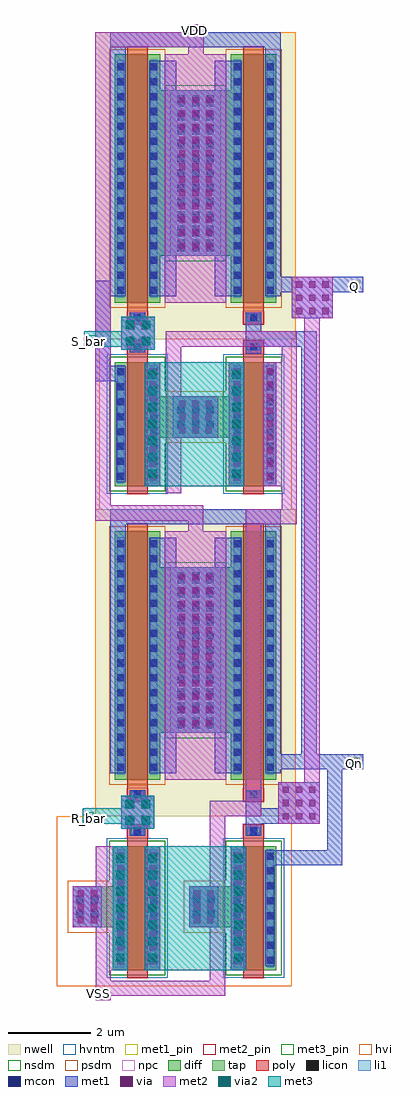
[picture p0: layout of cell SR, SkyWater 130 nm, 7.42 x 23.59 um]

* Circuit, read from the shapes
.subckt SR Q Qn R_bar S_bar VDD VSS
XM1 VSS R_bar VSS VSS sky130_fd_pr__nfet_g5v0d10v5 w=3 l=0.5
XM2 VSS S_bar Q VSS sky130_fd_pr__nfet_g5v0d10v5 w=3 l=0.5
XM3 Qn Q VSS VSS sky130_fd_pr__nfet_g5v0d10v5 w=3 l=0.5
XM4 VSS Qn VSS VSS sky130_fd_pr__nfet_g5v0d10v5 w=3 l=0.5
XM5 VDD R_bar Qn VDD sky130_fd_pr__pfet_g5v0d10v5 w=6 l=0.5
XM6 VDD S_bar Q VDD sky130_fd_pr__pfet_g5v0d10v5 w=6 l=0.5
XM7 Qn Q VDD VDD sky130_fd_pr__pfet_g5v0d10v5 w=6 l=0.5
XM8 Q Qn VDD VDD sky130_fd_pr__pfet_g5v0d10v5 w=6 l=0.5
.ends

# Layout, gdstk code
from math import pi, radians
import gdstk
lib = gdstk.Library(unit=1e-6, precision=1e-09)
def R(c, l, rs):  # rectangles x0, y0, x1, y1
    for r in rs: c.add(gdstk.rectangle(r[:2], r[2:], *l))
def A(c, l, x, y, w, h, nx, ny, dx, dy):  # array of equal rectangles
    R(c, l, [(x+i*dx, y+j*dy, x+i*dx+w, y+j*dy+h) for i in range(nx) for j in range(ny)])
nwell = (64, 20)
diff = (65, 20)
tap = (65, 44)
poly = (66, 20)
licon = (66, 44)
li1 = (67, 20)
mcon = (67, 44)
met1_pin = (68, 16)
met1 = (68, 20)
via = (68, 44)
met2_pin = (69, 16)
met2 = (69, 20)
via2 = (69, 44)
met3_pin = (70, 16)
met3 = (70, 20)
hvi = (75, 20)
nsdm = (93, 44)
psdm = (94, 20)
npc = (95, 20)
hvntm = (125, 20)

pfet_15 = lib.new_cell('pfet$15')
R(pfet_15, nwell, [(-0.465,-0.88,1.565,6.54)])
R(pfet_15, diff, [(0,0,1.1,6)])
R(pfet_15, poly, [(0.3,-0.53,0.8,-0.2), (0.3,-0.2,0.8,6.2)])
A(pfet_15, licon, 0.065, 0.215, 0.17, 0.17, 1, 16, 0, 0.36)
A(pfet_15, licon, 0.865, 0.215, 0.17, 0.17, 1, 16, 0, 0.36)
R(pfet_15, licon, [(0.465,-0.45,0.635,-0.28)])
R(pfet_15, li1, [(0.385,-0.45,0.715,-0.28), (0.065,0.135,0.235,5.865), (0.865,0.135,1.035,5.865)])
A(pfet_15, mcon, 0.065, 0.215, 0.17, 0.17, 1, 16, 0, 0.36)
A(pfet_15, mcon, 0.865, 0.215, 0.17, 0.17, 1, 16, 0, 0.36)
R(pfet_15, mcon, [(0.465,-0.45,0.635,-0.28)])
R(pfet_15, met1, [(0.365,-0.48,0.735,-0.25), (0.035,0.155,0.265,5.845), (0.835,0.155,1.065,5.845)])
R(pfet_15, hvi, [(-0.465,-0.88,1.565,6.54)])
R(pfet_15, psdm, [(-0.125,-0.125,1.225,6.125)])
R(pfet_15, npc, [(0.29,-0.54,0.81,-0.19)])

nfet_13 = lib.new_cell('nfet$13')
R(nfet_13, diff, [(0,0,1.1,3)])
R(nfet_13, poly, [(0.3,-0.2,0.8,3.2), (0.3,3.2,0.8,3.53)])
A(nfet_13, licon, 0.065, 0.155, 0.17, 0.17, 1, 8, 0, 0.36)
A(nfet_13, licon, 0.865, 0.155, 0.17, 0.17, 1, 8, 0, 0.36)
R(nfet_13, licon, [(0.465,3.28,0.635,3.45)])
R(nfet_13, li1, [(0.065,0.075,0.235,2.925), (0.865,0.075,1.035,2.925), (0.385,3.28,0.715,3.45)])
A(nfet_13, mcon, 0.065, 0.155, 0.17, 0.17, 1, 8, 0, 0.36)
A(nfet_13, mcon, 0.865, 0.155, 0.17, 0.17, 1, 8, 0, 0.36)
R(nfet_13, mcon, [(0.465,3.28,0.635,3.45)])
R(nfet_13, met1, [(0.035,0.095,0.265,2.905), (0.835,0.095,1.065,2.905), (0.365,3.25,0.735,3.48)])
R(nfet_13, hvi, [(-0.37,-0.385,1.47,3.725)])
R(nfet_13, nsdm, [(-0.125,-0.125,1.225,3.125)])
R(nfet_13, npc, [(0.29,3.19,0.81,3.54)])
R(nfet_13, hvntm, [(-0.185,-0.185,1.285,3.185)])

pfet_3 = lib.new_cell('pfet$3')
R(pfet_3, nwell, [(-0.465,-0.54,1.565,6.88)])
R(pfet_3, diff, [(0,0,1.1,6)])
R(pfet_3, poly, [(0.3,-0.2,0.8,6.2), (0.3,6.2,0.8,6.53)])
A(pfet_3, licon, 0.065, 0.215, 0.17, 0.17, 1, 16, 0, 0.36)
A(pfet_3, licon, 0.865, 0.215, 0.17, 0.17, 1, 16, 0, 0.36)
R(pfet_3, licon, [(0.465,6.28,0.635,6.45)])
R(pfet_3, li1, [(0.065,0.135,0.235,5.865), (0.865,0.135,1.035,5.865), (0.385,6.28,0.715,6.45)])
A(pfet_3, mcon, 0.065, 0.215, 0.17, 0.17, 1, 16, 0, 0.36)
A(pfet_3, mcon, 0.865, 0.215, 0.17, 0.17, 1, 16, 0, 0.36)
R(pfet_3, mcon, [(0.465,6.28,0.635,6.45)])
R(pfet_3, met1, [(0.035,0.155,0.265,5.845), (0.835,0.155,1.065,5.845), (0.365,6.25,0.735,6.48)])
R(pfet_3, hvi, [(-0.465,-0.54,1.565,6.88)])
R(pfet_3, psdm, [(-0.125,-0.125,1.225,6.125)])
R(pfet_3, npc, [(0.29,6.19,0.81,6.54)])

vias_gen_12_6 = lib.new_cell('vias_gen$12$6')
R(vias_gen_12_6, nwell, [(-0.18,-0.18,1.39,4.18)])
R(vias_gen_12_6, tap, [(0,0,1.21,4)])
A(vias_gen_12_6, licon, 0.18, 0.215, 0.17, 0.17, 3, 11, 0.34, 0.34)
R(vias_gen_12_6, li1, [(0,0,1.21,4)])
A(vias_gen_12_6, mcon, 0.16, 0.115, 0.17, 0.17, 3, 11, 0.36, 0.36)
R(vias_gen_12_6, met1, [(0,0,1.21,4)])
A(vias_gen_12_6, via, 0.21, 0.165, 0.15, 0.15, 3, 12, 0.32, 0.32)
R(vias_gen_12_6, met2, [(0,0,1.21,4)])
R(vias_gen_12_6, nsdm, [(-0.125,-0.125,1.335,4.125)])

vias_gen_14_3 = lib.new_cell('vias_gen$14$3')
R(vias_gen_14_3, tap, [(0,0,0.7,1)])
R(vias_gen_14_3, licon, [(0.095,0.245,0.265,0.415), (0.435,0.245,0.605,0.415), (0.095,0.585,0.265,0.755), (0.435,0.585,0.605,0.755)])
R(vias_gen_14_3, li1, [(0,0,0.7,1)])
R(vias_gen_14_3, mcon, [(0.085,0.235,0.255,0.405), (0.445,0.235,0.615,0.405), (0.085,0.595,0.255,0.765), (0.445,0.595,0.615,0.765)])
R(vias_gen_14_3, met1, [(0,0,0.7,1)])
A(vias_gen_14_3, via, 0.115, 0.105, 0.15, 0.15, 1, 3, 0, 0.32)
A(vias_gen_14_3, via, 0.435, 0.105, 0.15, 0.15, 1, 3, 0, 0.32)
R(vias_gen_14_3, met2, [(0,0,0.7,1)])
R(vias_gen_14_3, psdm, [(-0.125,-0.125,0.825,1.125)])

vias_gen_6_3 = lib.new_cell('vias_gen$6$3')
R(vias_gen_6_3, met1, [(0,0,0.8,0.8)])
R(vias_gen_6_3, via, [(0.165,0.165,0.315,0.315), (0.485,0.165,0.635,0.315), (0.165,0.485,0.315,0.635), (0.485,0.485,0.635,0.635)])
R(vias_gen_6_3, met2, [(0,0,0.8,0.8)])
R(vias_gen_6_3, via2, [(0.1,0.1,0.3,0.3), (0.5,0.1,0.7,0.3), (0.1,0.5,0.3,0.7), (0.5,0.5,0.7,0.7)])
R(vias_gen_6_3, met3, [(0,0,0.8,0.8)])

vias_gen_4_3 = lib.new_cell('vias_gen$4$3')
R(vias_gen_4_3, met1, [(0,0,0.32,3)])
A(vias_gen_4_3, via, 0.085, 0.145, 0.15, 0.15, 1, 9, 0, 0.32)
R(vias_gen_4_3, met2, [(0,0,0.32,3)])

vias_gen_5_4 = lib.new_cell('vias_gen$5$4')
R(vias_gen_5_4, met1, [(0,0,0.37,3)])
A(vias_gen_5_4, via, 0.11, 0.145, 0.15, 0.15, 1, 9, 0, 0.32)
R(vias_gen_5_4, met2, [(0,0,0.37,3)])
A(vias_gen_5_4, via2, 0.085, 0.2, 0.2, 0.2, 1, 7, 0, 0.4)
R(vias_gen_5_4, met3, [(0,0,0.37,3)])

nfet_3 = lib.new_cell('nfet$3')
R(nfet_3, diff, [(0,0,1.1,3)])
R(nfet_3, poly, [(0.3,-0.53,0.8,-0.2), (0.3,-0.2,0.8,3.2)])
A(nfet_3, licon, 0.065, 0.155, 0.17, 0.17, 1, 8, 0, 0.36)
A(nfet_3, licon, 0.865, 0.155, 0.17, 0.17, 1, 8, 0, 0.36)
R(nfet_3, licon, [(0.465,-0.45,0.635,-0.28)])
R(nfet_3, li1, [(0.385,-0.45,0.715,-0.28), (0.065,0.075,0.235,2.925), (0.865,0.075,1.035,2.925)])
A(nfet_3, mcon, 0.065, 0.155, 0.17, 0.17, 1, 8, 0, 0.36)
A(nfet_3, mcon, 0.865, 0.155, 0.17, 0.17, 1, 8, 0, 0.36)
R(nfet_3, mcon, [(0.465,-0.45,0.635,-0.28)])
R(nfet_3, met1, [(0.365,-0.48,0.735,-0.25), (0.035,0.095,0.265,2.905), (0.835,0.095,1.065,2.905)])
R(nfet_3, hvi, [(-0.37,-0.725,1.47,3.385)])
R(nfet_3, nsdm, [(-0.125,-0.125,1.225,3.125)])
R(nfet_3, npc, [(0.29,-0.54,0.81,-0.19)])
R(nfet_3, hvntm, [(-0.185,-0.185,1.285,3.185)])

vias_gen_13_4 = lib.new_cell('vias_gen$13$4')
R(vias_gen_13_4, tap, [(0,0,1.09,1)])
A(vias_gen_13_4, licon, 0.12, 0.245, 0.17, 0.17, 3, 2, 0.34, 0.34)
R(vias_gen_13_4, li1, [(0,0,1.09,1)])
A(vias_gen_13_4, mcon, 0.1, 0.235, 0.17, 0.17, 3, 2, 0.36, 0.36)
R(vias_gen_13_4, met1, [(0,0,1.09,1)])
A(vias_gen_13_4, via, 0.15, 0.105, 0.15, 0.15, 3, 3, 0.32, 0.32)
R(vias_gen_13_4, met2, [(0,0,1.09,1)])
R(vias_gen_13_4, psdm, [(-0.125,-0.125,1.215,1.125)])

vias_gen_67 = lib.new_cell('vias_gen$67')
R(vias_gen_67, met1, [(0,0,1,1)])
A(vias_gen_67, via, 0.105, 0.105, 0.15, 0.15, 3, 3, 0.32, 0.32)
R(vias_gen_67, met2, [(0,0,1,1)])

c_sr = lib.new_cell('SR')
R(c_sr, nwell, [(1.565,-12.41,2.345,-4.99), (1.565,-0.88,2.345,6.54)])
R(c_sr, diff, [(-0.185,-15.1,0,-14.1), (2.625,-15.1,2.81,-14.1), (1.1,-10.4,1.225,-6.4), (2.685,-10.4,2.81,-6.4), (0.73,-3.265,1.285,-2.265), (2.625,-3.265,2.81,-2.265), (1.1,1.13,1.225,5.13), (2.685,1.13,2.81,5.13)])
R(c_sr, tap, [(-0.31,-15.1,-0.185,-14.1), (2.5,-15.1,2.625,-14.1), (1.225,-10.4,2.685,-6.4), (1.285,-3.265,2.625,-2.265), (1.225,1.13,2.685,5.13)])
R(c_sr, met1_pin, [(5.72,-11.2,5.92,-11), (5.72,0.33,5.92,0.53)])
R(c_sr, met1, [(0.835,-11.375,1.49,-5.685), (2.42,-11.375,3.075,-5.685), (0.835,0.155,1.49,5.845), (2.42,0.155,3.075,5.845)])
R(c_sr, met2_pin, [(-0.395,-16.78,-0.195,-16.58), (1.868,6.475,2.068,6.675)])
R(c_sr, met2, [(-0.46,-16.135,0.32,-13.135), (1.21,-11.53,2.7,-5.53), (3.59,-4.435,4.37,-1.435), (1.21,0,2.7,6)])
R(c_sr, met3_pin, [(-0.72,-12.518,-0.52,-12.318), (-0.66,-0.988,-0.46,-0.788)])
R(c_sr, met3, [(0.73,-16.135,3.13,-13.135), (0.73,-4.435,3.13,-1.435)])
R(c_sr, hvi, [(-1.405,-16.52,-0.37,-12.41), (1.47,-16.52,2.05,-12.41), (2.05,-16.52,2.44,-12.41), (1.565,-12.41,2.345,-4.99), (-0.37,-4.99,4.28,-4.82), (1.47,-4.99,1.86,-0.88), (1.86,-4.99,2.44,-0.88), (1.565,-0.88,2.345,6.54)])
R(c_sr, nsdm, [(-0.185,-15.225,-0.125,-13.975), (2.625,-15.225,2.685,-13.975), (1.225,-3.39,1.285,-2.14), (2.625,-3.39,2.685,-2.14)])
c_sr.add(gdstk.FlexPath([(0.205,0.34),(-0.28,0.34),(-0.28,-1.715),(0.265,-1.715)], 0.37, ends="flush", simple_path=True, layer=68, datatype=20))  # met1
c_sr.add(gdstk.FlexPath([(0.55,-0.35),(0.55,-1.2)], 0.37, ends="flush", simple_path=True, layer=68, datatype=20))  # met1
c_sr.add(gdstk.FlexPath([(0.08,0.155),(0.08,6.355),(3.83,6.355),(3.83,0.155)], 0.37, ends="flush", simple_path=True, layer=68, datatype=20))  # met1
c_sr.add(gdstk.FlexPath([(3.855,0.435),(6.015,0.435)], 0.37, ends="flush", simple_path=True, layer=68, datatype=20))  # met1
c_sr.add(gdstk.FlexPath([(3.36,-0.38),(3.36,-1.24)], 0.37, ends="flush", simple_path=True, layer=68, datatype=20))  # met1
c_sr.add(gdstk.FlexPath([(3.36,-0.88),(4.7,-0.88),(4.7,-11.28)], 0.37, ends="flush", simple_path=True, layer=68, datatype=20))  # met1
c_sr.add(gdstk.FlexPath([(5.32,-11.1),(5.32,-13.415),(3.645,-13.415)], 0.37, ends="flush", simple_path=True, layer=68, datatype=20))  # met1
c_sr.add(gdstk.FlexPath([(0.08,-11.375),(0.08,-5.175),(3.83,-5.175),(3.83,-11.375)], 0.37, ends="flush", simple_path=True, layer=68, datatype=20))  # met1
c_sr.add(gdstk.FlexPath([(3.855,-11.095),(6.015,-11.095)], 0.37, ends="flush", simple_path=True, layer=68, datatype=20))  # met1
c_sr.add(gdstk.FlexPath([(0.55,-11.88),(0.55,-12.835)], 0.37, ends="flush", simple_path=True, layer=68, datatype=20))  # met1
c_sr.add(gdstk.FlexPath([(3.36,-11.91),(3.36,-12.77)], 0.37, ends="flush", simple_path=True, layer=68, datatype=20))  # met1
c_sr.add(gdstk.FlexPath([(3.36,-12.41),(4.955,-12.41)], 0.37, ends="flush", simple_path=True, layer=68, datatype=20))  # met1
c_sr.add(gdstk.FlexPath([(1.965,5.35),(1.965,6.735)], 0.37, ends="flush", simple_path=True, layer=69, datatype=20))  # met2
c_sr.add(gdstk.FlexPath([(1.96,-6.065),(1.96,-5.085),(-0.28,-5.085),(-0.28,6.355),(1.965,6.355)], 0.37, ends="flush", simple_path=True, layer=69, datatype=20))  # met2
c_sr.add(gdstk.FlexPath([(4.22,-4.525),(4.22,-5.175),(3.36,-5.175),(3.36,-12.41)], 0.37, ends="flush", simple_path=True, layer=69, datatype=20))  # met2
c_sr.add(gdstk.FlexPath([(4.77,0.2),(4.77,-12.43)], 0.37, ends="flush", simple_path=True, layer=69, datatype=20))  # met2
c_sr.add(gdstk.FlexPath([(-0.275,-15.97),(-0.275,-16.855)], 0.37, ends="flush", simple_path=True, layer=69, datatype=20))  # met2
c_sr.add(gdstk.FlexPath([(1.425,-4.605),(1.425,-0.88),(4.22,-0.88),(4.22,-4.605)], 0.37, ends="flush", simple_path=True, layer=69, datatype=20))  # met2
c_sr.add(gdstk.FlexPath([(-0.275,-16.57),(2.485,-16.57),(2.485,-13.135)], 0.37, ends="flush", simple_path=True, layer=69, datatype=20))  # met2
c_sr.add(gdstk.FlexPath([(2.485,-13.28),(2.485,-12.225),(3.525,-12.225)], 0.37, ends="flush", simple_path=True, layer=69, datatype=20))  # met2
c_sr.add(gdstk.FlexPath([(0.88,-0.88),(-0.73,-0.88)], 0.37, ends="flush", simple_path=True, layer=70, datatype=20))  # met3
c_sr.add(gdstk.FlexPath([(0.88,-12.41),(-0.77,-12.41)], 0.37, ends="flush", simple_path=True, layer=70, datatype=20))  # met3
c_sr.add(gdstk.Reference(pfet_15, (0,0)))
c_sr.add(gdstk.Reference(nfet_13, (0,-4.435)))
c_sr.add(gdstk.Reference(pfet_3, (3.91,6), rotation=pi))
c_sr.add(gdstk.Reference(nfet_13, (2.81,-4.435)))
c_sr.add(gdstk.Reference(vias_gen_12_6, (1.35,1.13)))
c_sr.add(gdstk.Reference(vias_gen_14_3, (-0.31,-14.1), rotation=pi))
c_sr.add(gdstk.Reference(vias_gen_6_3, (0.165,-1.135)))
c_sr.add(gdstk.Reference(vias_gen_4_3, (3.91,-1.435), rotation=pi))
c_sr.add(gdstk.Reference(vias_gen_5_4, (3.13,-1.435), rotation=pi))
c_sr.add(gdstk.Reference(vias_gen_5_4, (1.1,-1.435), rotation=pi))
c_sr.add(gdstk.Reference(pfet_15, (0,-11.53)))
c_sr.add(gdstk.Reference(nfet_3, (1.1,-13.135), rotation=pi))
c_sr.add(gdstk.Reference(pfet_3, (3.91,-5.53), rotation=pi))
c_sr.add(gdstk.Reference(nfet_3, (3.91,-13.135), rotation=pi))
c_sr.add(gdstk.Reference(vias_gen_12_6, (1.35,-10.4)))
c_sr.add(gdstk.Reference(vias_gen_6_3, (0.155,-12.715)))
c_sr.add(gdstk.Reference(vias_gen_14_3, (2.5,-14.1), rotation=pi))
c_sr.add(gdstk.Reference(vias_gen_5_4, (3.18,-13.135), rotation=pi))
c_sr.add(gdstk.Reference(vias_gen_5_4, (1.1,-13.135), rotation=pi))
c_sr.add(gdstk.Reference(vias_gen_13_4, (2.5,-2.265), rotation=pi))
c_sr.add(gdstk.Reference(vias_gen_67, (3.955,-12.595)))
c_sr.add(gdstk.Reference(vias_gen_67, (4.275,-0.38)))
c_sr.add(gdstk.Reference(vias_gen_5_4, (0.32,-13.135), rotation=pi))
c_sr.add(gdstk.Label('Q', (5.805,0.385), layer=68, texttype=5))
c_sr.add(gdstk.Label('Qn', (5.805,-11.145), layer=68, texttype=5))
c_sr.add(gdstk.Label('VDD', (1.925,6.575), layer=69, texttype=5))
c_sr.add(gdstk.Label('VSS', (-0.39,-16.69), layer=69, texttype=5))
c_sr.add(gdstk.Label('S_bar', (-0.635,-0.93), layer=70, texttype=5))
c_sr.add(gdstk.Label('R_bar', (-0.62,-12.46), layer=70, texttype=5))

lib.write_gds('SR.gds')
